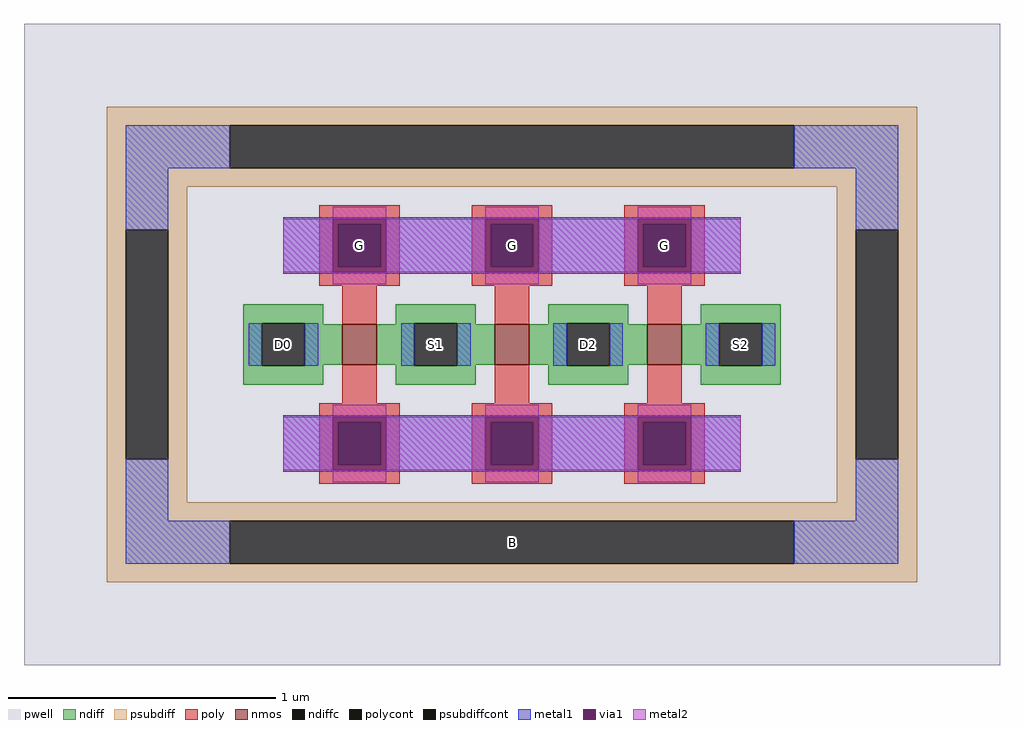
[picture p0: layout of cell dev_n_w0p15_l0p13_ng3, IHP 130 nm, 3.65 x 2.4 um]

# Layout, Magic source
magic
tech ihp-sg13cmos5l
magscale 1 2
<< pwell >>
rect -365 -240 365 240
<< nmos >>
rect -127 -15 -101 15
rect -13 -15 13 15
rect 101 -15 127 15
<< ndiff >>
rect -201 16 -141 30
rect -201 -16 -187 16
rect -155 15 -141 16
rect -87 16 -27 30
rect -87 15 -73 16
rect -155 -15 -127 15
rect -101 -15 -73 15
rect -155 -16 -141 -15
rect -201 -30 -141 -16
rect -87 -16 -73 -15
rect -41 15 -27 16
rect 27 16 87 30
rect 27 15 41 16
rect -41 -15 -13 15
rect 13 -15 41 15
rect -41 -16 -27 -15
rect -87 -30 -27 -16
rect 27 -16 41 -15
rect 73 15 87 16
rect 141 16 201 30
rect 141 15 155 16
rect 73 -15 101 15
rect 127 -15 155 15
rect 73 -16 87 -15
rect 27 -30 87 -16
rect 141 -16 155 -15
rect 187 -16 201 16
rect 141 -30 201 -16
<< ndiffc >>
rect -187 -16 -155 16
rect -73 -16 -41 16
rect 41 -16 73 16
rect 155 -16 187 16
<< psubdiff >>
rect -303 164 303 178
rect -303 132 -211 164
rect 211 132 303 164
rect -303 118 303 132
rect -303 86 -243 118
rect -303 -86 -289 86
rect -257 -86 -243 86
rect 243 86 303 118
rect -303 -118 -243 -86
rect 243 -86 257 86
rect 289 -86 303 86
rect 243 -118 303 -86
rect -303 -132 303 -118
rect -303 -164 -211 -132
rect 211 -164 303 -132
rect -303 -178 303 -164
<< psubdiffcont >>
rect -211 132 211 164
rect -289 -86 -257 86
rect 257 -86 289 86
rect -211 -164 211 -132
<< poly >>
rect -144 90 -84 104
rect -144 58 -130 90
rect -98 58 -84 90
rect -144 44 -84 58
rect -30 90 30 104
rect -30 58 -16 90
rect 16 58 30 90
rect -30 44 30 58
rect 84 90 144 104
rect 84 58 98 90
rect 130 58 144 90
rect 84 44 144 58
rect -127 15 -101 44
rect -127 -44 -101 -15
rect -13 15 13 44
rect -13 -44 13 -15
rect 101 15 127 44
rect 101 -44 127 -15
rect -144 -58 -84 -44
rect -144 -90 -130 -58
rect -98 -90 -84 -58
rect -144 -104 -84 -90
rect -30 -58 30 -44
rect -30 -90 -16 -58
rect 16 -90 30 -58
rect -30 -104 30 -90
rect 84 -58 144 -44
rect 84 -90 98 -58
rect 130 -90 144 -58
rect 84 -104 144 -90
<< polycont >>
rect -130 58 -98 90
rect -16 58 16 90
rect 98 58 130 90
rect -130 -90 -98 -58
rect -16 -90 16 -58
rect 98 -90 130 -58
<< metal1 >>
rect -289 132 -211 164
rect 211 132 289 164
rect -289 86 -257 132
rect -171 94 171 95
rect -171 54 -134 94
rect -94 54 -20 94
rect 20 54 94 94
rect 134 54 171 94
rect -171 53 171 54
rect 257 86 289 132
rect -197 -16 -187 16
rect -155 -16 -145 16
rect -83 -16 -73 16
rect -41 -16 -31 16
rect 31 -16 41 16
rect 73 -16 83 16
rect 145 -16 155 16
rect 187 -16 197 16
rect -289 -132 -257 -86
rect -171 -54 171 -53
rect -171 -94 -134 -54
rect -94 -94 -20 -54
rect 20 -94 94 -54
rect 134 -94 171 -54
rect -171 -95 171 -94
rect 257 -132 289 -86
rect -289 -164 -211 -132
rect 211 -164 289 -132
<< via1 >>
rect -134 90 -94 94
rect -134 58 -130 90
rect -130 58 -98 90
rect -98 58 -94 90
rect -134 54 -94 58
rect -20 90 20 94
rect -20 58 -16 90
rect -16 58 16 90
rect 16 58 20 90
rect -20 54 20 58
rect 94 90 134 94
rect 94 58 98 90
rect 98 58 130 90
rect 130 58 134 90
rect 94 54 134 58
rect -134 -58 -94 -54
rect -134 -90 -130 -58
rect -130 -90 -98 -58
rect -98 -90 -94 -58
rect -134 -94 -94 -90
rect -20 -58 20 -54
rect -20 -90 -16 -58
rect -16 -90 16 -58
rect 16 -90 20 -58
rect -20 -94 20 -90
rect 94 -58 134 -54
rect 94 -90 98 -58
rect 98 -90 130 -58
rect 130 -90 134 -58
rect 94 -94 134 -90
<< metal2 >>
rect -134 94 -94 103
rect -20 94 20 103
rect 94 94 134 103
rect -171 54 -134 94
rect -94 54 -20 94
rect 20 54 94 94
rect 134 54 171 94
rect -134 45 -94 54
rect -20 45 20 54
rect 94 45 134 54
rect -134 -54 -94 -45
rect -20 -54 20 -45
rect 94 -54 134 -45
rect -171 -94 -134 -54
rect -94 -94 -20 -54
rect 20 -94 94 -54
rect 134 -94 171 -54
rect -134 -103 -94 -94
rect -20 -103 20 -94
rect 94 -103 134 -94
<< labels >>
rlabel psubdiffcont 0 -148 0 -148 0 B
port 1 nsew
rlabel ndiffc -171 0 -171 0 0 D0
port 2 nsew
rlabel polycont -114 74 -114 74 0 G
port 3 nsew
rlabel ndiffc -57 0 -57 0 0 S1
port 4 nsew
rlabel polycont 0 74 0 74 0 G
port 3 nsew
rlabel ndiffc 57 0 57 0 0 D2
port 5 nsew
rlabel ndiffc 171 0 171 0 0 S2
port 6 nsew
rlabel polycont 114 74 114 74 0 G
port 3 nsew
<< properties >>
string FIXED_BBOX -273 -148 273 148
string gencell sg13_lv_nmos
string library sg13cmos5l
string parameters w 0.15 l 0.13 m 1 ng 3 diffcov 100 polycov 100 guard 1 glc 1 grc 1 gtc 1 gbc 1 tbcov 100 rlcov 100 topc 1 botc 1 poverlap 0 doverlap 1 lmin 0.13 wmin 0.15 class mosfet compatible {sg13_lv_nmos sg13_hv_nmos} full_metal 1 conn_gates 1 gate_ring 0 doports 1 viasrc 0 viadrn 0 viagate 100 ccols 1 viagb 0 viagr 0 viagl 0 viagt 0
<< end >>
